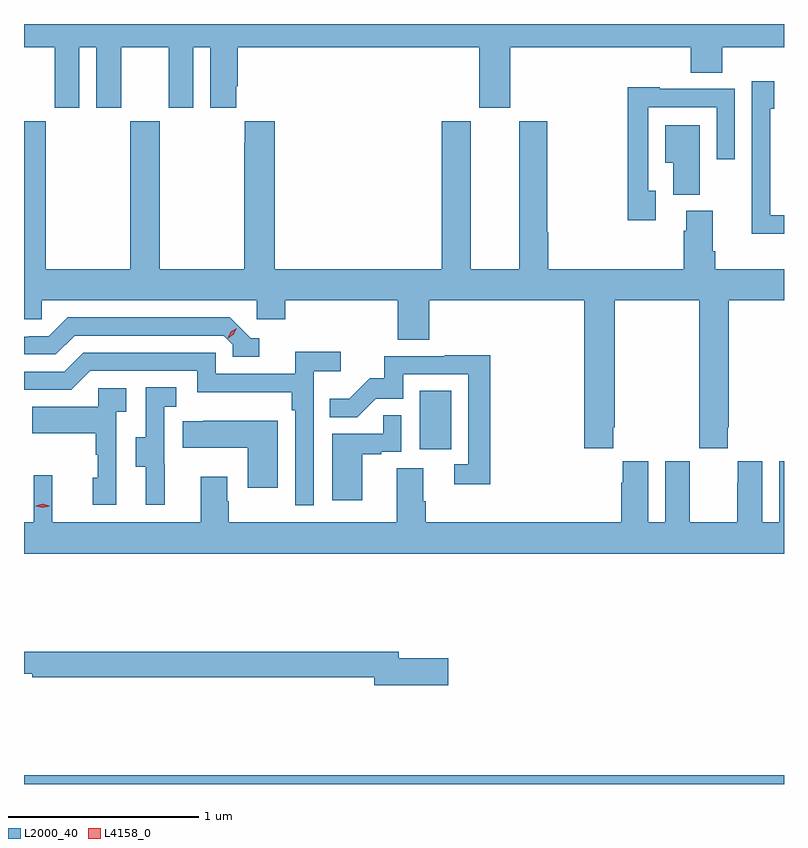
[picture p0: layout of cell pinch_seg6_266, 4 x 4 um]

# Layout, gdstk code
import gdstk
lib = gdstk.Library(unit=1e-6, precision=1e-09)
def R(c, l, rs):  # rectangles x0, y0, x1, y1
    for r in rs: c.add(gdstk.rectangle(r[:2], r[2:], *l))
def P(c, l, *ps):  # polygons
    for p in ps: c.add(gdstk.Polygon(p, *l))
L2000_40 = (2000, 40)
L4158_0 = (4158, 0)

pinch_seg6_266 = lib.new_cell('pinch_seg6_266')
R(pinch_seg6_266, L2000_40, [(790.428,980.755,794.428,980.8), (792.512,982.518,792.676,982.825)])
P(pinch_seg6_266, L2000_40, [(790.428,984.632),(790.589,984.632),(790.589,984.315),(790.72,984.315),(790.72,984.632),(790.808,984.632),(790.808,984.315),(790.939,984.315),(790.939,984.632),(791.189,984.632),(791.189,984.315),(791.32,984.315),(791.32,984.632),(791.408,984.632),(791.408,984.315),(791.545,984.315),(791.545,984.427),(791.552,984.427),(791.552,984.632),(792.824,984.632),(792.824,984.315),(792.988,984.315),(792.988,984.632),(793.937,984.632),(793.937,984.499),(794.102,984.499),(794.102,984.632),(794.428,984.632),(794.428,984.755),(790.428,984.755)],
  [(794.428,983.748),(794.355,983.748),(794.355,984.309),(794.377,984.309),(794.377,984.454),(794.259,984.454),(794.259,983.954),(794.258,983.954),(794.258,983.651),(794.428,983.651)],
  [(793.753,983.877),(793.713,983.877),(793.713,984.318),(794.073,984.318),(794.073,984.042),(794.169,984.042),(794.169,984.414),(793.773,984.414),(793.773,984.421),(793.605,984.421),(793.605,983.721),(793.753,983.721)],
  [(793.529,982.633),(793.536,982.633),(793.536,983.3),(793.981,983.3),(793.981,982.633),(793.983,982.633),(793.983,982.521),(794.133,982.521),(794.133,982.633),(794.136,982.633),(794.136,983.3),(794.428,983.3),(794.428,983.464),(794.066,983.464),(794.066,983.56),(794.053,983.56),(794.053,983.772),(793.913,983.772),(793.913,983.666),(793.901,983.666),(793.901,983.464),(793.187,983.464),(793.187,983.66),(793.182,983.66),(793.182,984.243),(793.034,984.243),(793.034,983.464),(792.778,983.464),(792.778,984.243),(792.626,984.243),(792.626,983.464),(791.747,983.464),(791.747,984.244),(791.591,984.244),(791.591,984.131),(791.587,984.131),(791.587,983.464),(791.142,983.464),(791.142,984.244),(790.987,984.244),(790.987,983.464),(790.542,983.464),(790.542,984.244),(790.428,984.244),(790.428,983.202),(790.521,983.202),(790.521,983.3),(791.652,983.3),(791.652,983.202),(791.804,983.202),(791.804,983.3),(792.395,983.3),(792.395,983.092),(792.56,983.092),(792.56,983.3),(793.376,983.3),(793.376,982.521),(793.529,982.521)],
  [(793.984,984.223),(793.802,984.223),(793.802,984.026),(793.844,984.026),(793.844,983.857),(793.984,983.857)],
  [(791.665,983.1),(791.622,983.1),(791.511,983.211),(790.658,983.211),(790.559,983.112),(790.452,983.112),(790.452,983.109),(790.428,983.109),(790.428,983.016),(790.596,983.016),(790.695,983.115),(791.478,983.115),(791.526,983.067),(791.526,983.004),(791.665,983.004)],
  [(791.952,982.928),(792.094,982.928),(792.094,983.03),(791.855,983.03),(791.855,982.914),(791.436,982.914),(791.436,983.025),(790.739,983.025),(790.64,982.926),(790.428,982.926),(790.428,982.83),(790.677,982.83),(790.776,982.929),(791.34,982.929),(791.34,982.817),(791.836,982.817),(791.836,982.721),(791.856,982.721),(791.856,982.221),(791.952,982.221)],
  [(792.881,983.012),(792.643,983.012),(792.643,983.007),(792.325,983.007),(792.325,982.89),(792.248,982.89),(792.141,982.783),(792.037,982.783),(792.037,982.684),(792.181,982.684),(792.279,982.782),(792.423,982.782),(792.423,982.911),(792.765,982.911),(792.765,982.437),(792.693,982.437),(792.693,982.332),(792.881,982.332)],
  [(791.168,982.437),(791.166,982.437),(791.166,982.741),(791.23,982.741),(791.23,982.844),(791.07,982.844),(791.07,982.581),(791.015,982.581),(791.015,982.426),(791.069,982.426),(791.069,982.224),(791.168,982.224)],
  [(790.914,982.715),(790.966,982.715),(790.966,982.839),(790.818,982.839),(790.818,982.741),(790.471,982.741),(790.471,982.601),(790.806,982.601),(790.806,982.487),(790.816,982.487),(790.816,982.368),(790.79,982.368),(790.79,982.224),(790.914,982.224)],
  [(792.208,982.491),(792.308,982.491),(792.308,982.503),(792.414,982.503),(792.414,982.697),(792.319,982.697),(792.319,982.599),(792.05,982.599),(792.05,982.248),(792.208,982.248)],
  [(791.764,982.666),(791.371,982.666),(791.371,982.663),(791.263,982.663),(791.263,982.526),(791.606,982.526),(791.606,982.314),(791.764,982.314)],
  [(794.428,982.453),(794.402,982.453),(794.402,982.132),(794.314,982.132),(794.314,982.453),(794.184,982.453),(794.184,982.34),(794.183,982.34),(794.183,982.132),(793.933,982.132),(793.933,982.34),(793.932,982.34),(793.932,982.453),(793.802,982.453),(793.802,982.132),(793.714,982.132),(793.714,982.453),(793.58,982.453),(793.58,982.34),(793.571,982.34),(793.571,982.132),(792.542,982.132),(792.542,982.244),(792.529,982.244),(792.529,982.418),(792.389,982.418),(792.389,982.132),(791.505,982.132),(791.505,982.244),(791.497,982.244),(791.497,982.372),(791.357,982.372),(791.357,982.132),(790.577,982.132),(790.577,982.381),(790.479,982.381),(790.479,982.132),(790.428,982.132),(790.428,981.968),(794.428,981.968)],
  [(792.661,981.416),(792.4,981.416),(792.4,981.452),(790.428,981.452),(790.428,981.336),(790.471,981.336),(790.471,981.316),(792.272,981.316),(792.272,981.274),(792.661,981.274)])
P(pinch_seg6_266, L4158_0, [(791.501,983.102),(791.501,983.102),(791.517,983.135),(791.547,983.154),(791.548,983.154),(791.548,983.154),(791.532,983.122),(791.502,983.102)],
  [(790.526,982.209),(790.49,982.218),(790.49,982.219),(790.49,982.219),(790.526,982.229),(790.562,982.219),(790.562,982.219),(790.562,982.218)])

lib.write_gds('pinch_seg6_266.gds')
